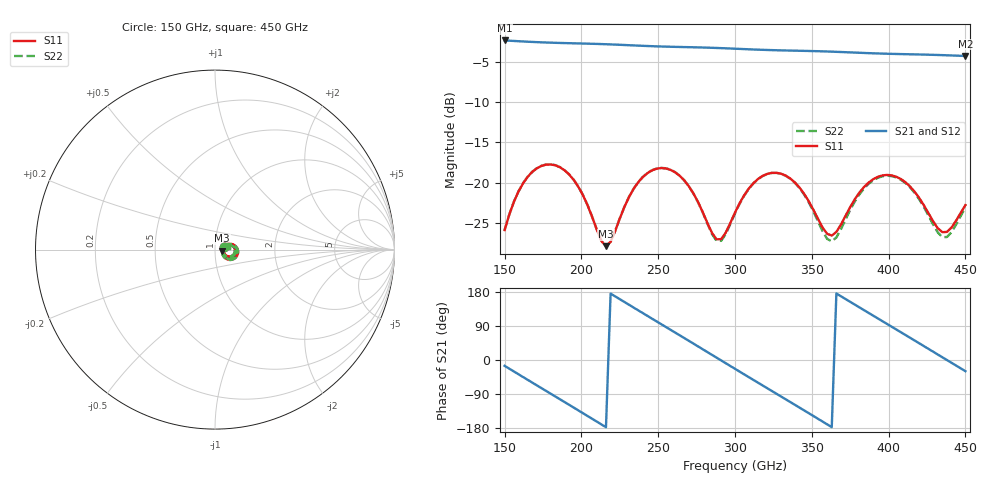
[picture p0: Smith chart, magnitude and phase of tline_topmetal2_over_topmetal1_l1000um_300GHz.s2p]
#  GHZ S DB R 50
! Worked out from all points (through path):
!   101 points, 150 GHz to 450 GHz, reference 50 ohm
!   highest |S21| = -2.29 dB at 150 GHz (marker M1); lowest = -4.2 dB at 450 GHz (marker M2)
!   group delay of S21, straight-line fit = 6.8 ps
!   lowest |S11| = -27.9 dB at 216 GHz (marker M3), VSWR 1.08, Z = 54.1 - j0.69 ohm
!   |S11| at or under -10 dB: start of sweep to end of sweep
!   |S22| runs from -27.9 to -17.7 dB; largest |S21 - S12| = 1.3e-12
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150  -25.92 19.8  -2.29 -15.3  -2.29 -15.3  -25.89 19.3
162  -20.10 18.4  -2.41 -44.9  -2.41 -44.9  -20.07 17.9
177  -17.76 -5.0  -2.54 -81.6  -2.54 -81.6  -17.74 -5.6
189  -18.47 -24.8  -2.61 -110.9  -2.61 -110.9  -18.44 -25.5
201  -21.57 -39.1  -2.67 -140.4  -2.67 -140.4  -21.54 -39.9
216  -27.93 -9.1  -2.76 -177.3  -2.76 -177.3  -27.92 -10.0
231  -21.80 22.0  -2.88 145.7  -2.88 145.7  -21.78 21.2
252  -18.19 -6.0  -3.04 94.5  -3.04 94.5  -18.17 -7.1
264  -19.16 -24.3  -3.10 65.2  -3.10 65.2  -19.14 -25.7
279  -23.69 -34.6  -3.17 28.3  -3.17 28.3  -23.73 -36.6
288  -27.07 -13.2  -3.22 6.2  -3.22 6.2  -27.27 -15.1
300  -23.74 19.7  -3.31 -23.3  -3.31 -23.3  -23.84 18.9
315  -19.55 9.6  -3.43 -59.9  -3.43 -59.9  -19.57 8.5
327  -18.78 -7.4  -3.51 -89.1  -3.51 -89.1  -18.80 -9.0
351  -23.37 -30.1  -3.61 -147.7  -3.61 -147.7  -23.58 -33.6
363  -26.60 -3.6  -3.68 -177.1  -3.68 -177.1  -27.33 -5.3
375  -23.05 19.0  -3.77 153.5  -3.77 153.5  -23.41 20.0
390  -19.58 7.6  -3.89 117.0  -3.89 117.0  -19.71 7.8
402  -19.10 -8.6  -3.96 87.8  -3.96 87.8  -19.20 -9.1
429  -24.83 -23.3  -4.08 21.9  -4.08 21.9  -25.23 -25.4
438  -26.15 -0.0  -4.13 -0.1  -4.13 -0.1  -26.79 0.0
450  -22.81 17.2  -4.22 -29.4  -4.22 -29.4  -23.12 19.0
